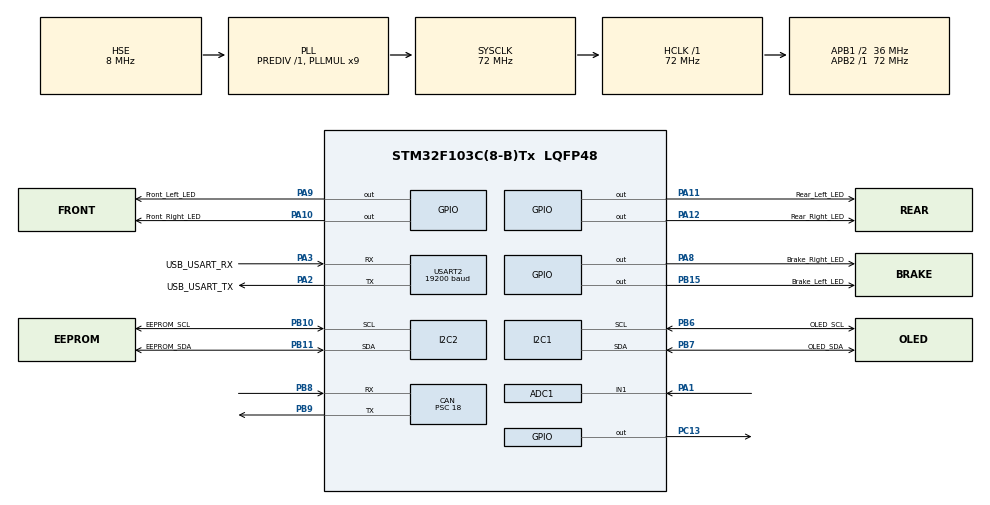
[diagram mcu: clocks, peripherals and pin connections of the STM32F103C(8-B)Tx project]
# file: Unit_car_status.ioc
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ADC1.Channel-0\#ChannelRegularConversion=ADC_CHANNEL_1
ADC1.NbrOfConversionFlag=1
ADC1.Rank-0\#ChannelRegularConversion=1
ADC1.SamplingTime-0\#ChannelRegularConversion=ADC_SAMPLETIME_239CYCLES_5
ADC1.master=1
CAN.ABOM=ENABLE
CAN.BS1=CAN_BS1_2TQ
CAN.CalculateBaudRate=500000
CAN.CalculateTimeBit=2000
CAN.CalculateTimeQuantum=500.0
CAN.NART=ENABLE
CAN.Prescaler=18
CAN.SJW=CAN_SJW_2TQ
I2C1.I2C_Mode=I2C_Fast
I2C2.I2C_Mode=I2C_Fast
Mcu.Family=STM32F1
Mcu.Name=STM32F103C(8-B)Tx
Mcu.Package=LQFP48
NVIC.CAN1_RX1_IRQn=true\:0\:0\:false\:false\:true\:true\:true\:true
NVIC.PriorityGroup=NVIC_PRIORITYGROUP_4
PA1.Signal=ADCx_IN1
PA10.GPIO_Label=Front_Right_LED
PA10.Signal=GPIO_Output
PA11.GPIO_Label=Rear_Left_LED
PA11.Signal=GPIO_Output
PA12.GPIO_Label=Rear_Right_LED
PA12.Signal=GPIO_Output
PA13.Mode=Serial_Wire
PA13.Signal=SYS_JTMS-SWDIO
PA14.Mode=Serial_Wire
PA14.Signal=SYS_JTCK-SWCLK
PA2.GPIO_Label=USB_USART_TX
PA2.Mode=Asynchronous
PA2.Signal=USART2_TX
PA3.GPIO_Label=USB_USART_RX
PA3.Mode=Asynchronous
PA3.Signal=USART2_RX
PA8.GPIO_Label=Brake_Right_LED
PA8.Signal=GPIO_Output
PA9.GPIO_Label=Front_Left_LED
PA9.Signal=GPIO_Output
PB10.GPIO_Label=EEPROM_SCL
PB10.Mode=I2C
PB10.Signal=I2C2_SCL
PB11.GPIO_Label=EEPROM_SDA
PB11.Mode=I2C
PB11.Signal=I2C2_SDA
PB15.GPIO_Label=Brake_Left_LED
PB15.Signal=GPIO_Output
PB6.GPIO_Label=OLED_SCL
PB6.Mode=I2C
PB6.Signal=I2C1_SCL
PB7.GPIO_Label=OLED_SDA
PB7.Mode=I2C
PB7.Signal=I2C1_SDA
PB8.Mode=CAN_Activate
PB8.Signal=CAN_RX
PB9.Mode=CAN_Activate
PB9.Signal=CAN_TX
PC13-TAMPER-RTC.Signal=GPIO_Output
PD0-OSC_IN.Mode=HSE-External-Oscillator
PD0-OSC_IN.Signal=RCC_OSC_IN
PD1-OSC_OUT.Mode=HSE-External-Oscillator
PD1-OSC_OUT.Signal=RCC_OSC_OUT
ProjectManager.HeapSize=0x200
ProjectManager.StackSize=0x400
ProjectManager.TargetToolchain=STM32CubeIDE
RCC.ADCPresc=RCC_ADCPCLK2_DIV6
RCC.AHBFreq_Value=72000000
RCC.APB1CLKDivider=RCC_HCLK_DIV2
RCC.APB1Freq_Value=36000000
RCC.APB1TimFreq_Value=72000000
RCC.APB2Freq_Value=72000000
RCC.APB2TimFreq_Value=72000000
RCC.HCLKFreq_Value=72000000
RCC.PLLMUL=RCC_PLL_MUL9
RCC.PLLSourceVirtual=RCC_PLLSOURCE_HSE
RCC.SYSCLKFreq_VALUE=72000000
RCC.SYSCLKSource=RCC_SYSCLKSOURCE_PLLCLK
RCC.USBFreq_Value=72000000
SH.ADCx_IN1.0=ADC1_IN1,IN1
USART2.BaudRate=19200
USART2.VirtualMode=VM_ASYNC
board=custom

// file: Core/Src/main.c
/* USER CODE BEGIN Header */
/**
  ******************************************************************************
  * @file           : main.c
  * @brief          : Main program body
  ******************************************************************************
  * @attention
  *
  * Copyright (c) 2025 STMicroelectronics.
  * All rights reserved.
  *
  * This software is licensed under terms that can be found in the LICENSE file
  * in the root directory of this software component.
  * If no LICENSE file comes with this software, it is provided AS-IS.
  *
  ******************************************************************************
  */
/* USER CODE END Header */
#include "main.h"
#include "adc.h"
#include "can.h"
#include "i2c.h"
#include "usart.h"
#include "gpio.h"

/* USER CODE BEGIN Includes */
#include "can_handler.h"
#include "battery_monitor.h"
#include "oled_display.h"
#include "string.h" // strlen() 함수를 사용하기 위해 string.h 헤더를 추가합니다.
#include "stdio.h"
#include "boot_logger.h"
/* USER CODE END Includes */

/* USER CODE BEGIN PD */
// CAN 통신 타임아웃 시간 정의
#define CAN_TIMEOUT_MS 250
/* USER CODE END PD */

/* USER CODE BEGIN PV */
extern volatile uint32_t g_last_can_rx_time;
/* USER CODE END PV */

void SystemClock_Config(void);

int main(void)
{

  /* MCU Configuration--------------------------------------------------------*/

  /* Reset of all peripherals, Initializes the Flash interface and the Systick. */
  HAL_Init();

  /* Configure the system clock */
  SystemClock_Config();

  /* Initialize all configured peripherals */
  MX_GPIO_Init();
  MX_CAN_Init();
  MX_I2C1_Init();
  MX_ADC1_Init();
  MX_I2C2_Init();
  MX_USART2_UART_Init();
  /* USER CODE BEGIN 2 */

  // 부팅 로거 초기화. 팩토리 리셋, 덤프, 부팅 시퀀스 처리
  BootLogger_Init();

  // 1. Can 시작, 필터 설정 및 인터럽트 등록
  CANHandler_Init();

  // 2. OLED 초기화
  OLED_Init();
  g_last_can_rx_time = HAL_GetTick(); // 프로그램 시작 시 타임스탬프 초기화

  uint32_t last_update_time = 0;
  /* USER CODE END 2 */

  /* Infinite loop */
  /* USER CODE BEGIN WHILE */

  while (1)
  {
	 uint32_t now = HAL_GetTick();

	 // CAN 통신 불량 감지 로직 (watchdog timer 구현)
	 // 현재 시간과 마지막 CAN 수신 시간의 차이가 TIMEOUT보다 크면
	 if (now - g_last_can_rx_time > CAN_TIMEOUT_MS)
		 // 통신 실패 시
		 OLED_SetCANStatus(false);
	 else
		 // 통신 성공 시
		 OLED_SetCANStatus(true);

	 if (now - last_update_time >= 100) //100ms 주기
	 {
		 last_update_time = now;

		 float vout = 0.0f;
		 float percent = Read_Battery_Percentage(&vout);

		 OLED_BatteryStatus(percent, vout);

	 }

	 // --- 주기적으로 현재 Uptime을 EEPROM에 저장 ---
	 BootLogger_UpdateUptime();
    /* USER CODE END WHILE */

  }
}

void SystemClock_Config(void)
{
  RCC_OscInitTypeDef RCC_OscInitStruct = {0};
  RCC_ClkInitTypeDef RCC_ClkInitStruct = {0};
  RCC_PeriphCLKInitTypeDef PeriphClkInit = {0};

  /** Initializes the RCC Oscillators according to the specified parameters
  * in the RCC_OscInitTypeDef structure.
  */
  RCC_OscInitStruct.OscillatorType = RCC_OSCILLATORTYPE_HSE;
  RCC_OscInitStruct.HSEState = RCC_HSE_ON;
  RCC_OscInitStruct.HSEPredivValue = RCC_HSE_PREDIV_DIV1;
  RCC_OscInitStruct.HSIState = RCC_HSI_ON;
  RCC_OscInitStruct.PLL.PLLState = RCC_PLL_ON;
  RCC_OscInitStruct.PLL.PLLSource = RCC_PLLSOURCE_HSE;
  RCC_OscInitStruct.PLL.PLLMUL = RCC_PLL_MUL9;
  if (HAL_RCC_OscConfig(&RCC_OscInitStruct) != HAL_OK)
  {
    Error_Handler();
  }

  /** Initializes the CPU, AHB and APB buses clocks
  */
  RCC_ClkInitStruct.ClockType = RCC_CLOCKTYPE_HCLK|RCC_CLOCKTYPE_SYSCLK
                              |RCC_CLOCKTYPE_PCLK1|RCC_CLOCKTYPE_PCLK2;
  RCC_ClkInitStruct.SYSCLKSource = RCC_SYSCLKSOURCE_PLLCLK;
  RCC_ClkInitStruct.AHBCLKDivider = RCC_SYSCLK_DIV1;
  RCC_ClkInitStruct.APB1CLKDivider = RCC_HCLK_DIV2;
  RCC_ClkInitStruct.APB2CLKDivider = RCC_HCLK_DIV1;

  if (HAL_RCC_ClockConfig(&RCC_ClkInitStruct, FLASH_LATENCY_2) != HAL_OK)
  {
    Error_Handler();
  }
  PeriphClkInit.PeriphClockSelection = RCC_PERIPHCLK_ADC;
  PeriphClkInit.AdcClockSelection = RCC_ADCPCLK2_DIV6;
  if (HAL_RCCEx_PeriphCLKConfig(&PeriphClkInit) != HAL_OK)
  {
    Error_Handler();
  }
}

void Error_Handler(void)
{
  __disable_irq();
  while (1)
  {
  }
}
